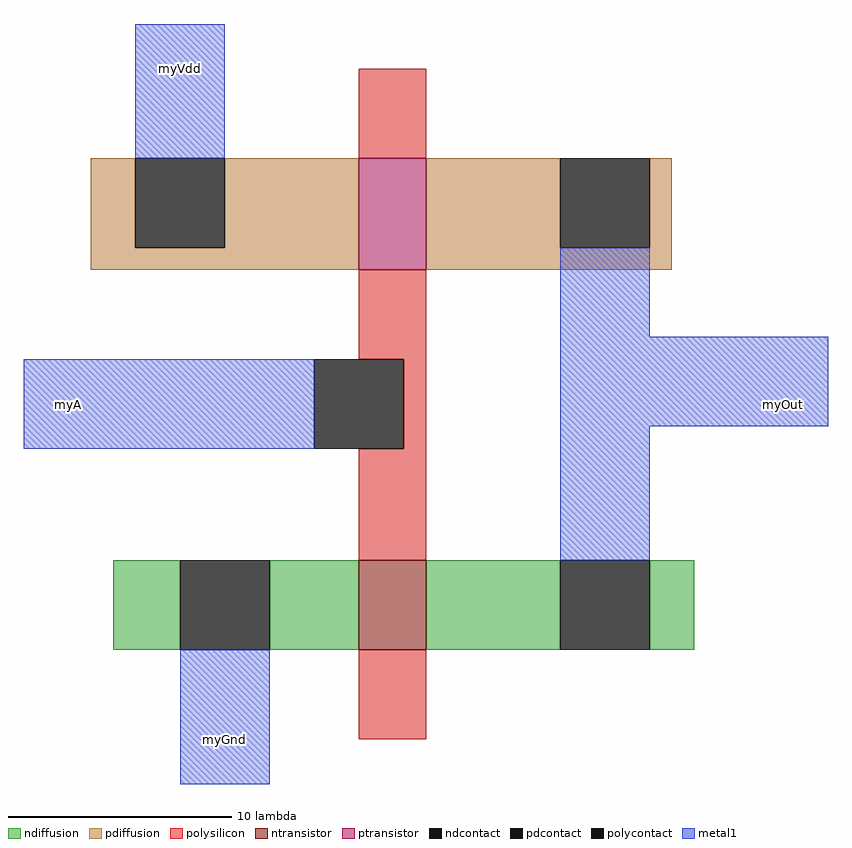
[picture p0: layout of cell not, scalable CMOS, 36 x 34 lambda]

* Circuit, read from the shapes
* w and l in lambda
.subckt not myA myGnd myOut myVdd
M1 myOut myA myGnd VSUBS nfet w=4 l=3
M2 myOut myA myVdd NWELL pfet w=5 l=3
.ends

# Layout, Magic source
magic
tech scmos
<< polysilicon >>
rect -14 11 -11 15
rect -14 2 -11 6
rect -12 -2 -11 2
rect -14 -7 -11 -2
rect -14 -15 -11 -11
<< ndiffusion >>
rect -25 -11 -22 -7
rect -18 -11 -14 -7
rect -11 -11 -5 -7
rect -1 -11 1 -7
<< pdiffusion >>
rect -26 7 -24 11
rect -20 7 -14 11
rect -26 6 -14 7
rect -11 7 -5 11
rect -1 7 0 11
rect -11 6 0 7
<< metal1 >>
rect -24 11 -20 17
rect -5 3 -1 7
rect -29 -2 -16 2
rect -5 -1 7 3
rect -5 -7 -1 -1
rect -22 -17 -18 -11
<< ntransistor >>
rect -14 -11 -11 -7
<< ptransistor >>
rect -14 6 -11 11
<< polycontact >>
rect -16 -2 -12 2
<< ndcontact >>
rect -22 -11 -18 -7
rect -5 -11 -1 -7
<< pdcontact >>
rect -24 7 -20 11
rect -5 7 -1 11
<< labels >>
rlabel metal1 -22 15 -22 15 5 myVdd
rlabel metal1 -27 0 -27 0 3 myA
rlabel metal1 5 0 5 0 7 myOut
rlabel metal1 -20 -15 -20 -15 1 myGnd
<< end >>
